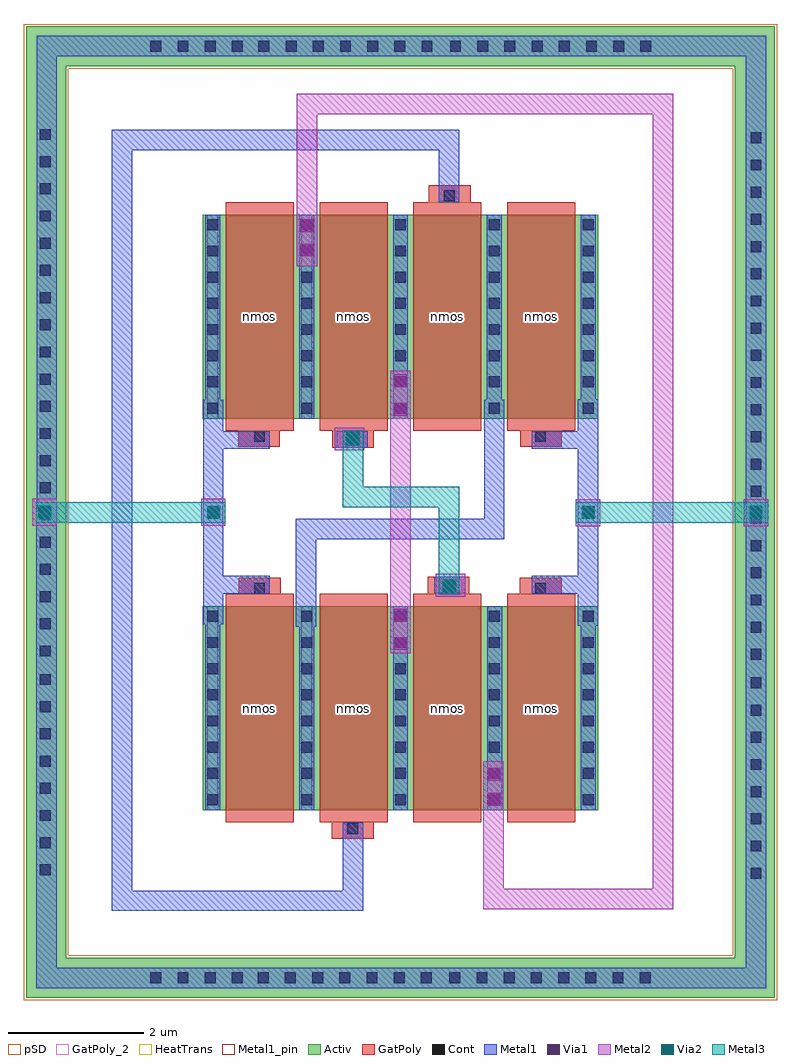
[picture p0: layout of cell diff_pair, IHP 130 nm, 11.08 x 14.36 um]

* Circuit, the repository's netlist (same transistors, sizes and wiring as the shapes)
** sch_path: /foss/designs/thesis_hp/designs/otas/1_schematics/diff_pair.sch
.SUBCKT diff_pair PLUS MINUS AVSS Drain_plus Drain_minus source
*.PININFO PLUS:I MINUS:I AVSS:I Drain_plus:I Drain_minus:I source:I
M1 Drain_plus PLUS source AVSS sg13_lv_nmos w=6u l=1u ng=2 m=1
M2 Drain_minus MINUS source AVSS sg13_lv_nmos w=6u l=1u ng=2 m=1
Md2 Drain_minus AVSS AVSS AVSS sg13_lv_nmos w=6u l=1u ng=2 m=1
Md1 Drain_plus AVSS AVSS AVSS sg13_lv_nmos w=6u l=1u ng=2 m=1
.ENDS

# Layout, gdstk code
import gdstk
lib = gdstk.Library(unit=1e-6, precision=1e-09)
def R(c, l, rs):  # rectangles x0, y0, x1, y1
    for r in rs: c.add(gdstk.rectangle(r[:2], r[2:], *l))
def A(c, l, x, y, w, h, nx, ny, dx, dy):  # array of equal rectangles
    R(c, l, [(x+i*dx, y+j*dy, x+i*dx+w, y+j*dy+h) for i in range(nx) for j in range(ny)])
Activ = (1, 0)
GatPoly = (5, 0)
GatPoly_2 = (5, 2)
Cont = (6, 0)
Metal1 = (8, 0)
Metal1_pin = (8, 2)
Metal2 = (10, 0)
pSD = (14, 0)
Via1 = (19, 0)
Via2 = (29, 0)
Metal3 = (30, 0)
HeatTrans = (51, 0)

diff_pair = lib.new_cell('diff_pair')
A(diff_pair, Activ, -2.91, -1.68, 0.3, 0.3, 5, 2, 1.38, 5.76)
R(diff_pair, Activ, [(-5.51,-7.145,5.51,-6.55), (-5.51,-6.55,-4.915,6.56), (4.915,-6.55,5.51,6.56), (-2.91,-4.38,2.91,-1.38), (-2.91,1.38,2.91,4.38), (-5.51,6.56,5.51,7.155)])
A(diff_pair, GatPoly, -2.57, -4.56, 1, 3.36, 4, 2, 1.38, 5.76)
R(diff_pair, GatPoly, [(-1.01,-4.805,-0.395,-4.545), (-2.38,-1.225,-1.765,-0.96), (1.755,-1.225,2.37,-0.965), (0.4,-1.21,1.015,-0.95), (-1.005,0.95,-0.39,1.21), (-2.39,0.965,-1.775,1.225), (1.76,0.965,2.375,1.22), (0.415,4.55,1.03,4.81)])
R(diff_pair, GatPoly_2, [(-2.57,-4.56,-1.57,-1.2), (-2.57,1.2,-1.57,4.56)])
A(diff_pair, Cont, -3.68, -6.925, 0.16, 0.16, 4, 2, 0.4, 13.7)
A(diff_pair, Cont, -2.1, -6.925, 0.16, 0.16, 7, 1, 0.4, 0)
A(diff_pair, Cont, 0.72, -6.925, 0.16, 0.16, 8, 1, 0.4, 0)
A(diff_pair, Cont, 5.15, -5.39, 0.16, 0.16, 1, 8, 0, 0.4)
A(diff_pair, Cont, -5.305, -5.34, 0.16, 0.16, 1, 8, 0, 0.4)
A(diff_pair, Cont, -2.84, -4.31, 0.16, 0.16, 5, 2, 1.38, 0.39)
A(diff_pair, Cont, -2.84, -3.535, 0.16, 0.16, 5, 6, 1.38, 0.385)
A(diff_pair, Cont, 5.15, -2.17, 0.16, 0.16, 1, 20, 0, 0.4)
A(diff_pair, Cont, -5.305, -2.12, 0.16, 0.16, 1, 20, 0, 0.4)
A(diff_pair, Cont, -2.84, 1.45, 0.16, 0.16, 5, 2, 1.38, 0.39)
A(diff_pair, Cont, -2.84, 2.225, 0.16, 0.16, 5, 6, 1.38, 0.385)
A(diff_pair, Cont, -2.09, 6.775, 0.16, 0.16, 7, 1, 0.4, 0)
A(diff_pair, Cont, 0.73, 6.775, 0.16, 0.16, 8, 1, 0.4, 0)
R(diff_pair, Cont, [(-0.78,-4.735,-0.62,-4.575), (-2.155,-1.195,-1.995,-1.035), (1.98,-1.195,2.14,-1.035), (0.635,-1.18,0.795,-1.02), (-0.785,1.02,-0.625,1.18), (-2.155,1.035,-1.995,1.195), (1.98,1.035,2.14,1.195), (0.64,4.58,0.8,4.74)])
A(diff_pair, Metal1, -2.87, -4.38, 0.22, 3, 3, 1, 1.38, 0)
A(diff_pair, Metal1, -2.87, 1.38, 0.22, 3, 5, 1, 1.38, 0)
R(diff_pair, Metal1, [(1.275,-4.38,1.495,-1.38), (2.65,-4.38,2.87,-1.38), (0.495,-1.19,0.95,-0.95), (-0.94,0.95,-0.485,1.19)])
R(diff_pair, Metal1_pin, [(-2.84,-4.38,-2.68,-1.38), (-1.46,-4.38,-1.3,-1.38), (-2.84,1.38,-2.68,4.38), (-1.46,1.38,-1.3,4.38)])
R(diff_pair, Metal2, [(0.52,-1.24,0.95,-0.905), (2.58,-0.205,2.94,0.195), (5.05,-0.205,5.41,0.195), (-5.42,-0.2,-5.06,0.2), (-2.935,-0.2,-2.575,0.2), (-0.965,0.91,-0.535,1.245)])
R(diff_pair, pSD, [(-5.54,-7.175,5.54,-6.52), (-5.54,-6.52,-4.885,6.53), (4.885,-6.52,5.54,6.53), (-5.54,6.53,5.54,7.185)])
R(diff_pair, Via1, [(1.285,-4.315,1.475,-4.125), (1.285,-3.95,1.475,-3.76), (-0.095,-2.025,0.095,-1.835), (-0.095,-1.61,0.095,-1.42), (0.62,-1.18,0.81,-0.99), (-5.33,-0.095,-5.14,0.095), (-2.845,-0.095,-2.655,0.095), (2.665,-0.095,2.855,0.095), (5.135,-0.095,5.325,0.095), (-0.8,0.99,-0.61,1.18), (-0.095,1.42,0.095,1.61), (-0.095,1.84,0.095,2.03), (-1.475,3.765,-1.285,3.955), (-1.475,4.12,-1.285,4.31)])
R(diff_pair, Via2, [(0.62,-1.18,0.81,-0.99), (-5.33,-0.095,-5.14,0.095), (-2.845,-0.095,-2.655,0.095), (2.665,-0.095,2.855,0.095), (5.135,-0.095,5.325,0.095), (-0.8,0.99,-0.61,1.18)])
A(diff_pair, HeatTrans, -2.57, -4.56, 1, 3.36, 4, 2, 1.38, 5.76)
diff_pair.add(gdstk.FlexPath([(0.715,4.565),(0.715,5.02),(0.715,5.48),(-4.095,5.48),(-4.095,-5.715),(-0.7,-5.715),(-0.7,-4.56)], 0.3, ends="flush", simple_path=True, layer=8, datatype=0))  # Metal1
diff_pair.add(gdstk.FlexPath([(-5.36,-6.85),(2.65,-6.85),(5.38,-6.85)], 0.3, ends="flush", simple_path=True, layer=8, datatype=0))  # Metal1
diff_pair.add(gdstk.FlexPath([(5.23,6.71),(5.23,-6.7)], 0.3, ends="flush", simple_path=True, layer=8, datatype=0))  # Metal1
diff_pair.add(gdstk.FlexPath([(-5.205,6.71),(-5.21,-6.7)], 0.3, ends="flush", simple_path=True, layer=8, datatype=0))  # Metal1
diff_pair.add(gdstk.FlexPath([(-5.355,6.86),(2.65,6.86),(5.38,6.86)], 0.3, ends="flush", simple_path=True, layer=8, datatype=0))  # Metal1
diff_pair.add(gdstk.FlexPath([(2.06,-1.195),(2.06,-1.065),(2.76,-1.065)], 0.26, ends="flush", simple_path=True, layer=8, datatype=0))  # Metal1
diff_pair.add(gdstk.FlexPath([(-2.625,-1.195),(-2.625,-1.065),(-1.925,-1.065)], 0.26, ends="flush", simple_path=True, layer=8, datatype=0))  # Metal1
diff_pair.add(gdstk.FlexPath([(2.06,0.935),(2.06,1.065),(2.76,1.065)], 0.26, ends="flush", simple_path=True, layer=8, datatype=0))  # Metal1
diff_pair.add(gdstk.FlexPath([(-2.625,0.935),(-2.625,1.065),(-1.925,1.065)], 0.26, ends="flush", simple_path=True, layer=8, datatype=0))  # Metal1
diff_pair.add(gdstk.FlexPath([(-2.755,-1.645),(-2.755,1.655)], 0.3, ends="flush", simple_path=True, layer=8, datatype=0))  # Metal1
diff_pair.add(gdstk.FlexPath([(2.76,-1.665),(2.76,1.665)], 0.3, ends="flush", simple_path=True, layer=8, datatype=0))  # Metal1
diff_pair.add(gdstk.FlexPath([(-1.39,-1.68),(-1.39,-0.245),(1.38,-0.245),(1.38,1.66)], 0.3, ends="flush", simple_path=True, layer=8, datatype=0))  # Metal1
diff_pair.add(gdstk.FlexPath([(-1.375,3.62),(-1.375,6.01),(3.86,6.01),(3.86,-5.69),(1.37,-5.69),(1.37,-3.66)], 0.3, ends="flush", simple_path=True, layer=10, datatype=0))  # Metal2
diff_pair.add(gdstk.FlexPath([(0,-2.07),(0,2.085)], 0.3, ends="flush", simple_path=True, layer=10, datatype=0))  # Metal2
diff_pair.add(gdstk.FlexPath([(2.58,0),(5.41,0)], 0.3, ends="flush", simple_path=True, layer=30, datatype=0))  # Metal3
diff_pair.add(gdstk.FlexPath([(-2.575,-0.005),(-5.358,-0.005)], 0.3, ends="flush", simple_path=True, layer=30, datatype=0))  # Metal3
diff_pair.add(gdstk.FlexPath([(-0.7,1.2),(-0.7,0.225),(0.715,0.225),(0.715,-1.205)], 0.3, ends="flush", simple_path=True, layer=30, datatype=0))  # Metal3
diff_pair.add(gdstk.Label('nmos', (-2.07,-2.88), layer=51, texttype=0))
diff_pair.add(gdstk.Label('nmos', (-0.69,-2.88), layer=51, texttype=0))
diff_pair.add(gdstk.Label('nmos', (0.69,-2.88), layer=51, texttype=0))
diff_pair.add(gdstk.Label('nmos', (2.07,-2.88), layer=51, texttype=0))
diff_pair.add(gdstk.Label('nmos', (-2.07,2.88), layer=51, texttype=0))
diff_pair.add(gdstk.Label('nmos', (-0.69,2.88), layer=51, texttype=0))
diff_pair.add(gdstk.Label('nmos', (0.69,2.88), layer=51, texttype=0))
diff_pair.add(gdstk.Label('nmos', (2.07,2.88), layer=51, texttype=0))
diff_pair.add(gdstk.Label('nmos', (-2.07,-2.88), layer=63, texttype=0))
diff_pair.add(gdstk.Label('nmos', (-2.07,2.88), layer=63, texttype=0))

lib.write_gds('diff_pair.gds')
